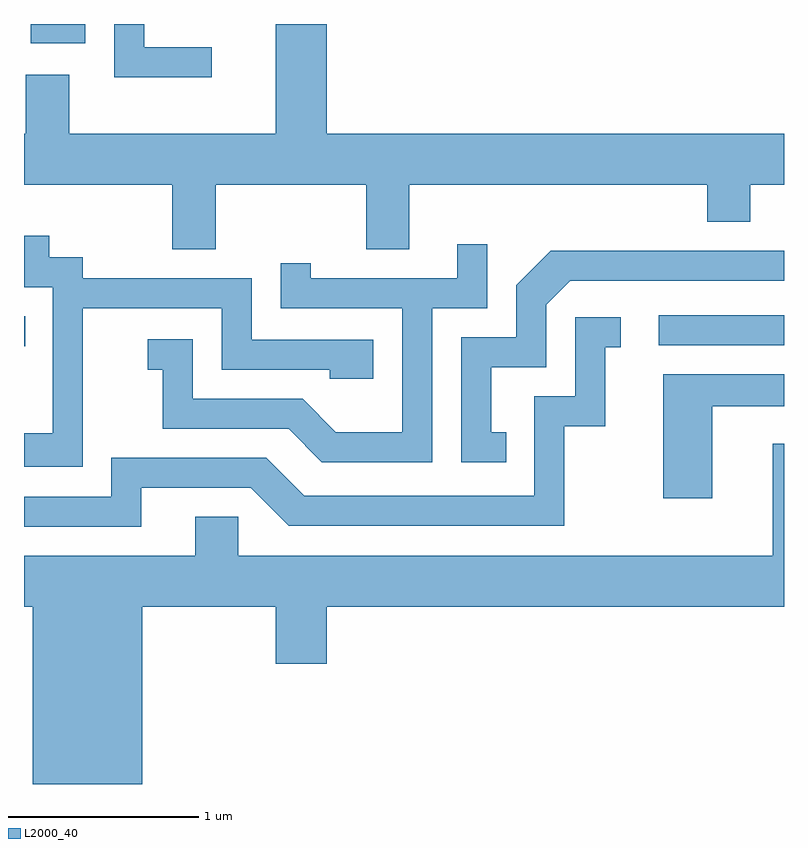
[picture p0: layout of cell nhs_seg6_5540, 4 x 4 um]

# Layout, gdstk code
import gdstk
lib = gdstk.Library(unit=1e-6, precision=1e-09)
def R(c, l, rs):  # rectangles x0, y0, x1, y1
    for r in rs: c.add(gdstk.rectangle(r[:2], r[2:], *l))
def P(c, l, *ps):  # polygons
    for p in ps: c.add(gdstk.Polygon(p, *l))
L2000_40 = (2000, 40)

nhs_seg6_5540 = lib.new_cell('nhs_seg6_5540')
R(nhs_seg6_5540, L2000_40, [(353.611,1602.466,353.618,1602.624), (356.953,1602.471,357.611,1602.629), (353.646,1604.061,353.934,1604.162)])
P(nhs_seg6_5540, L2000_40, [(354.619,1603.316),(355.411,1603.316),(355.411,1602.976),(355.639,1602.976),(355.639,1603.316),(357.206,1603.316),(357.206,1603.121),(357.434,1603.121),(357.434,1603.316),(357.611,1603.316),(357.611,1603.584),(355.204,1603.584),(355.204,1604.162),(354.936,1604.162),(354.936,1603.584),(353.849,1603.584),(353.849,1603.894),(353.621,1603.894),(353.621,1603.584),(353.611,1603.584),(353.611,1603.316),(354.391,1603.316),(354.391,1602.976),(354.619,1602.976)],
  [(354.598,1604.039),(354.244,1604.039),(354.244,1604.162),(354.086,1604.162),(354.086,1603.881),(354.598,1603.881)],
  [(353.919,1602.666),(354.651,1602.666),(354.651,1602.341),(355.221,1602.341),(355.221,1602.296),(355.449,1602.296),(355.449,1602.499),(354.809,1602.499),(354.809,1602.824),(353.919,1602.824),(353.919,1602.934),(353.744,1602.934),(353.744,1603.048),(353.611,1603.048),(353.611,1602.776),(353.761,1602.776),(353.761,1602.009),(353.611,1602.009),(353.611,1601.831),(353.919,1601.831)],
  [(355.759,1602.666),(356.049,1602.666),(356.049,1603.003),(355.891,1603.003),(355.891,1602.824),(355.119,1602.824),(355.119,1602.903),(354.961,1602.903),(354.961,1602.666),(355.601,1602.666),(355.601,1602.014),(355.252,1602.014),(355.077,1602.189),(354.499,1602.189),(354.499,1602.504),(354.263,1602.504),(354.263,1602.341),(354.341,1602.341),(354.341,1602.031),(355.004,1602.031),(355.179,1601.856),(355.759,1601.856)],
  [(356.148,1602.014),(356.069,1602.014),(356.069,1602.356),(356.359,1602.356),(356.359,1602.684),(356.487,1602.811),(357.611,1602.811),(357.611,1602.969),(356.384,1602.969),(356.201,1602.787),(356.201,1602.514),(355.911,1602.514),(355.911,1601.856),(356.148,1601.856)],
  [(354.229,1601.721),(354.804,1601.721),(355.004,1601.521),(356.454,1601.521),(356.454,1602.046),(356.669,1602.046),(356.669,1602.461),(356.753,1602.461),(356.753,1602.619),(356.511,1602.619),(356.511,1602.204),(356.296,1602.204),(356.296,1601.679),(355.087,1601.679),(354.887,1601.879),(354.071,1601.879),(354.071,1601.674),(353.611,1601.674),(353.611,1601.516),(354.229,1601.516)],
  [(357.234,1602.151),(357.611,1602.151),(357.611,1602.319),(356.976,1602.319),(356.976,1601.666),(357.234,1601.666)],
  [(354.234,1601.096),(354.936,1601.096),(354.936,1600.796),(355.204,1600.796),(355.204,1601.096),(357.611,1601.096),(357.611,1601.954),(357.551,1601.954),(357.551,1601.364),(354.739,1601.364),(354.739,1601.569),(354.511,1601.569),(354.511,1601.364),(353.611,1601.364),(353.611,1601.096),(353.656,1601.096),(353.656,1600.162),(354.234,1600.162)])

lib.write_gds('nhs_seg6_5540.gds')
